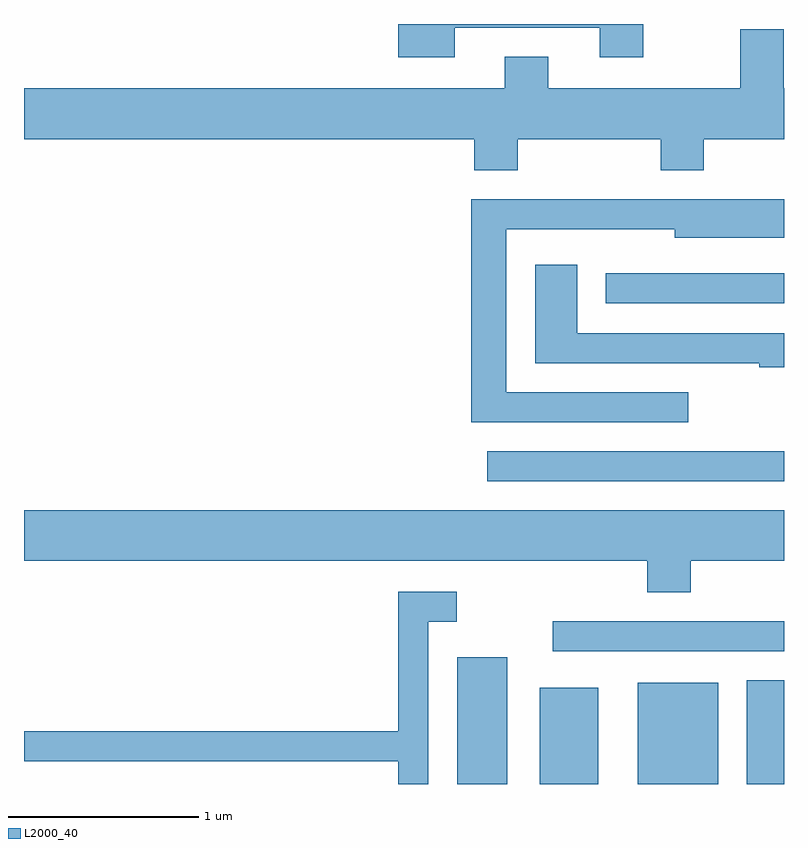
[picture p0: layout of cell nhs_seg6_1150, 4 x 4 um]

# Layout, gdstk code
import gdstk
lib = gdstk.Library(unit=1e-6, precision=1e-09)
def R(c, l, rs):  # rectangles x0, y0, x1, y1
    for r in rs: c.add(gdstk.rectangle(r[:2], r[2:], *l))
def P(c, l, *ps):  # polygons
    for p in ps: c.add(gdstk.Polygon(p, *l))
L2000_40 = (2000, 40)

nhs_seg6_1150 = lib.new_cell('nhs_seg6_1150')
R(nhs_seg6_1150, L2000_40, [(221.891,1582.162,222.154,1582.829), (222.326,1582.162,222.634,1582.669), (222.841,1582.162,223.264,1582.694), (223.416,1582.162,223.611,1582.709), (222.393,1582.861,223.611,1583.019), (222.048,1583.756,223.611,1583.914), (222.673,1584.691,223.611,1584.849)])
P(nhs_seg6_1150, L2000_40, [(221.879,1586.141),(222.641,1586.141),(222.641,1585.986),(222.869,1585.986),(222.869,1586.162),(221.581,1586.162),(221.581,1585.986),(221.879,1585.986)],
  [(222.209,1585.556),(222.961,1585.556),(222.961,1585.391),(223.189,1585.391),(223.189,1585.556),(223.611,1585.556),(223.611,1585.824),(223.609,1585.824),(223.609,1586.134),(223.381,1586.134),(223.381,1585.824),(222.369,1585.824),(222.369,1585.989),(222.141,1585.989),(222.141,1585.824),(219.611,1585.824),(219.611,1585.556),(221.981,1585.556),(221.981,1585.391),(222.209,1585.391)],
  [(223.108,1584.224),(222.149,1584.224),(222.149,1585.081),(223.036,1585.081),(223.036,1585.036),(223.611,1585.036),(223.611,1585.239),(221.966,1585.239),(221.966,1584.066),(223.108,1584.066)],
  [(223.611,1584.534),(222.524,1584.534),(222.524,1584.894),(222.301,1584.894),(222.301,1584.376),(223.481,1584.376),(223.481,1584.356),(223.611,1584.356)],
  [(223.119,1583.336),(223.611,1583.336),(223.611,1583.604),(219.611,1583.604),(219.611,1583.336),(222.891,1583.336),(222.891,1583.171),(223.119,1583.171)],
  [(221.739,1583.016),(221.888,1583.016),(221.888,1583.174),(221.581,1583.174),(221.581,1582.439),(219.611,1582.439),(219.611,1582.281),(221.581,1582.281),(221.581,1582.162),(221.739,1582.162)])

lib.write_gds('nhs_seg6_1150.gds')
